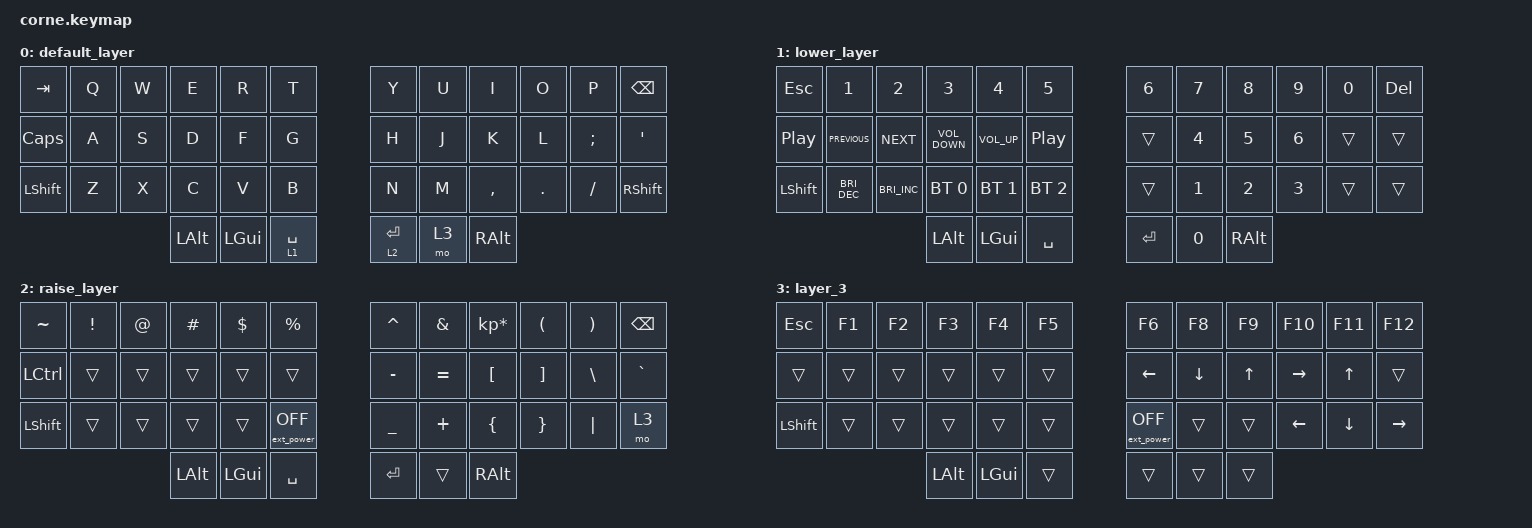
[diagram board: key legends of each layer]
/*
 * Copyright (c) 2020 The ZMK Contributors
 *
 * SPDX-License-Identifier: MIT
 */

#include <behaviors.dtsi>
#include <dt-bindings/zmk/bt.h>
#include <dt-bindings/zmk/ext_power.h>
#include <dt-bindings/zmk/keys.h>

/ {
    keymap {
        compatible = "zmk,keymap";

        default_layer {
            // -----------------------------------------------------------------------------------------
            // |  TAB |  Q  |  W  |  E  |  R  |  T  |   |  Y  |  U   |  I  |  O  |  P  | BKSP |
            // | CTRL |  A  |  S  |  D  |  F  |  G  |   |  H  |  J   |  K  |  L  |  ;  |  '   |
            // | SHFT |  Z  |  X  |  C  |  V  |  B  |   |  N  |  M   |  ,  |  .  |  /  | ESC  |
            //                    | GUI | LWR | SPC |   | ENT | RSE  | ALT |

            bindings = <
&kp TAB       &kp Q  &kp W  &kp E         &kp R         &kp T          &kp Y        &kp U  &kp I          &kp O    &kp P     &kp BSPC
&kp CAPSLOCK  &kp A  &kp S  &kp D         &kp F         &kp G          &kp H        &kp J  &kp K          &kp L    &kp SEMI  &kp SQT
&kp LSHFT     &kp Z  &kp X  &kp C         &kp V         &kp B          &kp N        &kp M  &kp COMMA      &kp DOT  &kp FSLH  &kp RIGHT_SHIFT
                            &kp LEFT_ALT  &kp LEFT_GUI  &lt 1 SPACE    &lt 2 ENTER  &mo 3  &kp RIGHT_ALT
            >;
        };

        lower_layer {
            // -----------------------------------------------------------------------------------------
            // |  TAB |  1  |  2  |  3  |  4  |  5  |   |  6  |  7  |  8  |  9  |  0  | BKSP |
            // | BTCLR| BT1 | BT2 | BT3 | BT4 | BT5 |   | LFT | DWN |  UP | RGT |     |      |
            // | SHFT |     |     |     |     |     |   |     |     |     |     |     |      |
            //                    | GUI |     | SPC |   | ENT |     | ALT |

            bindings = <
&kp ESCAPE        &kp N1                &kp N2                &kp N3             &kp N4           &kp N5              &kp N6   &kp N7        &kp N8        &kp N9        &kp N0  &kp DELETE
&kp C_PLAY_PAUSE  &kp C_PREVIOUS        &kp C_NEXT            &kp C_VOLUME_DOWN  &kp C_VOLUME_UP  &kp C_PLAY_PAUSE    &trans   &kp NUMBER_4  &kp N5        &kp NUMBER_6  &trans  &trans
&kp LSHFT         &kp C_BRIGHTNESS_DEC  &kp C_BRIGHTNESS_INC  &bt BT_SEL 0       &bt BT_SEL 1     &bt BT_SEL 2        &trans   &kp NUMBER_1  &kp NUMBER_2  &kp NUMBER_3  &trans  &trans
                                                              &kp LEFT_ALT       &kp LEFT_GUI     &kp SPACE           &kp RET  &kp NUMBER_0  &kp RALT
            >;
        };

        raise_layer {
            // -----------------------------------------------------------------------------------------
            // |  TAB |  !  |  @  |  #  |  $  |  %  |   |  ^  |  &  |  *  |  (  |  )  | BKSP |
            // | CTRL |     |     |     |     |     |   |  -  |  =  |  [  |  ]  |  \  |  `   |
            // | SHFT |     |     |     |     |     |   |  _  |  +  |  {  |  }  | "|" |  ~   |
            //                    | GUI |     | SPC |   | ENT |     | ALT |

            bindings = <
&kp TILDE  &kp EXCL  &kp AT  &kp HASH      &kp DLLR      &kp PRCNT            &kp CARET  &kp AMPS   &kp KP_MULTIPLY  &kp LPAR  &kp RPAR  &kp BSPC
&kp LCTRL  &trans    &trans  &trans        &trans        &trans               &kp MINUS  &kp EQUAL  &kp LBKT         &kp RBKT  &kp BSLH  &kp GRAVE
&kp LSHFT  &trans    &trans  &trans        &trans        &ext_power EP_OFF    &kp UNDER  &kp PLUS   &kp LBRC         &kp RBRC  &kp PIPE  &mo 3
                             &kp LEFT_ALT  &kp LEFT_GUI  &kp SPACE            &kp RET    &trans     &kp RALT
            >;
        };

        layer_3 {
            bindings = <
&kp ESC         &kp F1  &kp F2  &kp F3        &kp F4        &kp F5    &kp F6             &kp F8          &kp F9        &kp F10          &kp F11         &kp F12
&trans          &trans  &trans  &trans        &trans        &trans    &kp LEFT_ARROW     &kp DOWN_ARROW  &kp UP_ARROW  &kp RIGHT_ARROW  &kp UP_ARROW    &trans
&kp LEFT_SHIFT  &trans  &trans  &trans        &trans        &trans    &ext_power EP_OFF  &trans          &trans        &kp LEFT_ARROW   &kp DOWN_ARROW  &kp RIGHT
                                &kp LEFT_ALT  &kp LEFT_GUI  &trans    &trans             &trans          &trans
            >;
        };
    };
};
